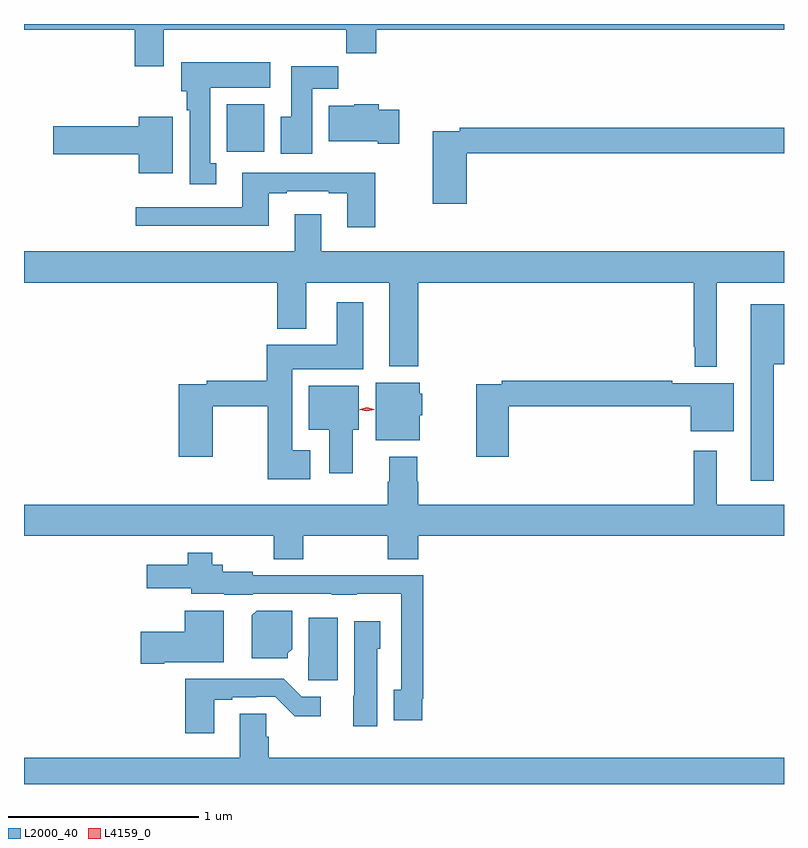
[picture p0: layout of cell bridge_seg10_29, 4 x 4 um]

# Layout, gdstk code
import gdstk
lib = gdstk.Library(unit=1e-6, precision=1e-09)
def R(c, l, rs):  # rectangles x0, y0, x1, y1
    for r in rs: c.add(gdstk.rectangle(r[:2], r[2:], *l))
def P(c, l, *ps):  # polygons
    for p in ps: c.add(gdstk.Polygon(p, *l))
L2000_40 = (2000, 40)
L4159_0 = (4159, 0)

bridge_seg10_29 = lib.new_cell('bridge_seg10_29')
R(bridge_seg10_29, L2000_40, [(949.023,1271.7,949.219,1271.95)])
P(bridge_seg10_29, L2000_40, [(948.691,1272.344),(949.651,1272.344),(949.651,1272.22),(949.808,1272.22),(949.808,1272.344),(951.955,1272.344),(951.955,1272.373),(947.955,1272.373),(947.955,1272.344),(948.539,1272.344),(948.539,1272.15),(948.691,1272.15)],
  [(948.967,1271.641),(948.934,1271.641),(948.934,1272.038),(949.252,1272.038),(949.252,1272.172),(948.782,1272.172),(948.782,1272.018),(948.812,1272.018),(948.812,1271.918),(948.827,1271.918),(948.827,1271.529),(948.967,1271.529)],
  [(949.471,1272.032),(949.61,1272.032),(949.61,1272.151),(949.361,1272.151),(949.361,1271.884),(949.307,1271.884),(949.307,1271.691),(949.471,1271.691)],
  [(949.93,1271.922),(949.823,1271.922),(949.823,1271.95),(949.692,1271.95),(949.692,1271.944),(949.559,1271.944),(949.559,1271.756),(949.817,1271.756),(949.817,1271.744),(949.93,1271.744)],
  [(948.739,1271.884),(948.56,1271.884),(948.56,1271.834),(948.108,1271.834),(948.108,1271.687),(948.56,1271.687),(948.56,1271.588),(948.739,1271.588)],
  [(950.285,1271.692),(951.955,1271.692),(951.955,1271.828),(950.248,1271.828),(950.248,1271.808),(950.107,1271.808),(950.107,1271.427),(950.285,1271.427)],
  [(949.803,1271.59),(949.567,1271.59),(949.567,1271.589),(949.103,1271.589),(949.103,1271.409),(948.543,1271.409),(948.543,1271.312),(949.243,1271.312),(949.243,1271.481),(949.339,1271.481),(949.339,1271.493),(949.559,1271.493),(949.559,1271.481),(949.655,1271.481),(949.655,1271.304),(949.803,1271.304)],
  [(951.601,1271.012),(951.955,1271.012),(951.955,1271.176),(949.519,1271.176),(949.519,1271.371),(949.379,1271.371),(949.379,1271.176),(947.955,1271.176),(947.955,1271.012),(949.289,1271.012),(949.289,1270.769),(949.441,1270.769),(949.441,1271.012),(949.877,1271.012),(949.877,1270.571),(950.03,1270.571),(950.03,1271.012),(951.48,1271.012),(951.48,1270.675),(951.486,1270.675),(951.486,1270.568),(951.601,1270.568)],
  [(949.462,1270.129),(949.366,1270.129),(949.366,1270.556),(949.741,1270.556),(949.741,1270.909),(949.601,1270.909),(949.601,1270.684),(949.232,1270.684),(949.232,1270.496),(948.916,1270.496),(948.916,1270.476),(948.77,1270.476),(948.77,1270.095),(948.948,1270.095),(948.948,1270.36),(949.237,1270.36),(949.237,1269.977),(949.462,1269.977)],
  [(951.901,1270.582),(951.955,1270.582),(951.955,1270.897),(951.779,1270.897),(951.779,1269.969),(951.901,1269.969)],
  [(950.507,1270.36),(951.464,1270.36),(951.464,1270.229),(951.691,1270.229),(951.691,1270.483),(951.368,1270.483),(951.368,1270.496),(950.47,1270.496),(950.47,1270.476),(950.336,1270.476),(950.336,1270.095),(950.507,1270.095)],
  [(950.038,1270.314),(950.05,1270.314),(950.05,1270.428),(950.038,1270.428),(950.038,1270.486),(949.805,1270.486),(949.805,1270.181),(950.038,1270.181)],
  [(949.684,1270.238),(949.717,1270.238),(949.717,1270.468),(949.454,1270.468),(949.454,1270.238),(949.562,1270.238),(949.562,1270.008),(949.684,1270.008)],
  [(949.425,1269.68),(949.87,1269.68),(949.87,1269.556),(950.03,1269.556),(950.03,1269.68),(951.955,1269.68),(951.955,1269.844),(951.601,1269.844),(951.601,1270.126),(951.48,1270.126),(951.48,1269.844),(950.03,1269.844),(950.03,1269.965),(950.025,1269.965),(950.025,1270.096),(949.877,1270.096),(949.877,1269.965),(949.87,1269.965),(949.87,1269.844),(947.955,1269.844),(947.955,1269.68),(949.27,1269.68),(949.27,1269.556),(949.425,1269.556)],
  [(950.05,1268.821),(950.057,1268.821),(950.057,1269.471),(949.807,1269.471),(949.807,1269.473),(949.575,1269.473),(949.575,1269.471),(949.158,1269.471),(949.158,1269.49),(949.001,1269.49),(949.001,1269.526),(948.946,1269.526),(948.946,1269.589),(948.817,1269.589),(948.817,1269.526),(948.6,1269.526),(948.6,1269.404),(948.836,1269.404),(948.836,1269.374),(949.008,1269.374),(949.008,1269.368),(949.158,1269.368),(949.158,1269.375),(949.575,1269.375),(949.575,1269.368),(949.707,1269.368),(949.707,1269.374),(949.941,1269.374),(949.941,1268.87),(949.901,1268.87),(949.901,1268.709),(950.05,1268.709)],
  [(949.344,1269.06),(949.366,1269.082),(949.366,1269.286),(949.18,1269.286),(949.154,1269.26),(949.154,1269.035),(949.344,1269.035)],
  [(948.693,1269.014),(949.006,1269.014),(949.006,1269.284),(948.8,1269.284),(948.8,1269.175),(948.57,1269.175),(948.57,1269.005),(948.693,1269.005)],
  [(949.606,1269.247),(949.454,1269.247),(949.454,1269.042),(949.45,1269.042),(949.45,1268.919),(949.606,1268.919)],
  [(949.813,1269.084),(949.831,1269.084),(949.831,1269.229),(949.694,1269.229),(949.694,1268.838),(949.688,1268.838),(949.688,1268.676),(949.813,1268.676)],
  [(948.955,1268.817),(949.051,1268.817),(949.051,1268.829),(949.178,1268.829),(949.178,1268.832),(949.278,1268.832),(949.381,1268.73),(949.516,1268.73),(949.516,1268.832),(949.416,1268.832),(949.322,1268.926),(948.803,1268.926),(948.803,1268.64),(948.955,1268.64)],
  [(951.955,1268.512),(949.244,1268.512),(949.244,1268.622),(949.23,1268.622),(949.23,1268.744),(949.091,1268.744),(949.091,1268.512),(947.955,1268.512),(947.955,1268.373),(951.955,1268.373)])
P(bridge_seg10_29, L4159_0, [(949.76,1270.335),(949.723,1270.344),(949.722,1270.345),(949.723,1270.345),(949.76,1270.355),(949.798,1270.345),(949.798,1270.345),(949.798,1270.344)])

lib.write_gds('bridge_seg10_29.gds')
